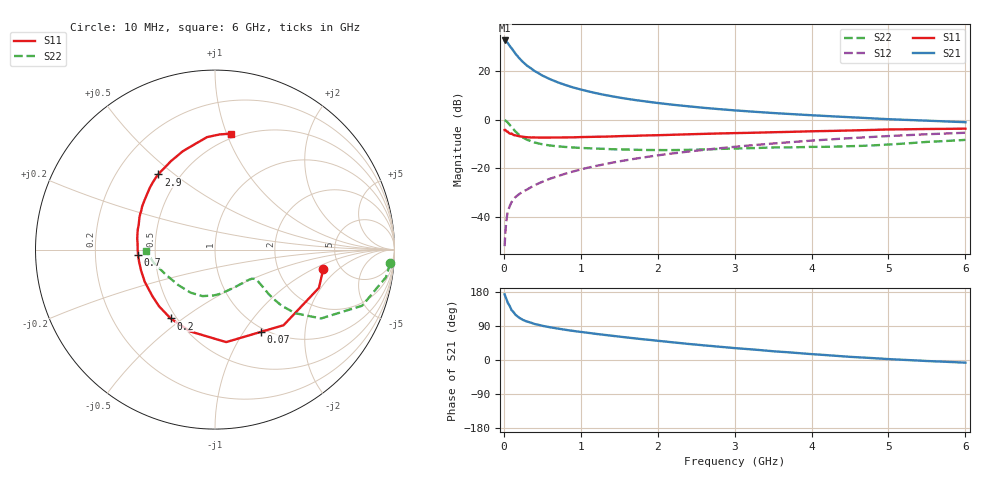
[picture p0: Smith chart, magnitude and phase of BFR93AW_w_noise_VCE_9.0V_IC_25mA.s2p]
! Infineon Technologies  Discrete & RF Semiconductors
! BFR93AW
! VCE =  9.0 V,  IC =  25 mA
! Common Emitter S-Parameters:  Jan 2017
# GHz  S  MA  R  50
!  f  S11  S21  S12  S22
! GHz  MAG  ANG  MAG  ANG  MAG  ANG  MAG  ANG
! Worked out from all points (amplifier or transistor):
!   77 points, 10 MHz to 6 GHz, reference 50 ohm
!   highest |S21| = 32.6 dB at 10 MHz (marker M1)
!   |S21| within 3 dB of that: start of sweep to 95.22 MHz
!   unconditionally stable (mu >= 1): 664.3 MHz to 2.047 GHz
!   at 130 MHz: K = 0.47, MSG = 30.4 dB, |S12| = -32.7 dB
!   at 2.2 GHz: K = 0.99, MSG = 10.0 dB, |S12| = -13.9 dB
!   at 6 GHz: K = 0.86, MSG = 2.2 dB, |S12| = -5.4 dB
!   lowest NFmin = 1.66 dB at 450 MHz
!   S11 on the Smith chart (normalised r, x): 10 MHz: 3.71, -1.27; 70 MHz: 0.95, -1.20; 200 MHz: 0.46, -0.45; 700 MHz: 0.40, -0.03; 2.9 GHz: 0.38, +0.44; 6 GHz: 0.46, +1.04
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0.01  0.6131 -10.0  42.53 173.3  0.0025 79.8  0.9796 -4.4
0.02  0.617 -20.2  42.2 167.6  0.0049 83.6  0.9649 -9.2
0.05  0.5688 -47.8  37.8 151.3  0.0127 73.3  0.8771 -20.9
0.07  0.5246 -61.0  34.02 144.7  0.0156 67.7  0.804 -25.1
0.1  0.5191 -83.1  29.48 131.8  0.0201 62.4  0.7046 -33.0
0.15  0.4764 -106.8  22.88 119.6  0.0255 57.8  0.571 -38.4
0.2  0.4564 -122.8  18.36 111.5  0.0295 59.2  0.4846 -40.1
0.25  0.4437 -134.7  15.25 105.6  0.0333 58.9  0.4276 -40.1
0.3  0.4348 -143.2  12.94 101.5  0.0364 60.3  0.3869 -39.6
0.4  0.4306 -155.3  9.989 95.0  0.0447 63.5  0.339 -38.0
0.5  0.4281 -164.0  8.084 90.3  0.0527 65.2  0.3113 -37.0
0.6  0.4283 -170.5  6.807 86.4  0.061 66.7  0.2942 -36.3
0.7  0.4298 -175.8  5.866 83.0  0.0687 68.1  0.2824 -36.2
0.9  0.4326 175.5  4.598 76.8  0.0858 68.8  0.2678 -37.3
1.1  0.441 168.5  3.807 71.6  0.1034 69.3  0.2583 -39.6
1.5  0.4573 157.1  2.846 61.8  0.1387 68.2  0.2443 -47.2
2.1  0.4836 142.9  2.111 48.7  0.1932 64.8  0.2365 -63.9
2.9  0.5241 127.0  1.598 33.3  0.2669 58.5  0.2523 -88.6
3.1  0.5321 123.3  1.513 29.9  0.2855 56.7  0.2567 -94.3
4.1  0.5803 106.6  1.209 14.2  0.3793 47.0  0.2756 -122.9
5.1  0.6305 92.7  1.008 1.4  0.4677 36.1  0.3147 -156.6
6  0.6526 82.0  0.886 -7.0  0.5379 25.9  0.3833 -178.9
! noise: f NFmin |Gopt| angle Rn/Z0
0.45  1.66  0.17  171  0.16
0.9  1.93  0.25  -177  0.16
1.9  2.93  0.49  -136  0.25
2.4  3.59  0.55  -125  0.5
